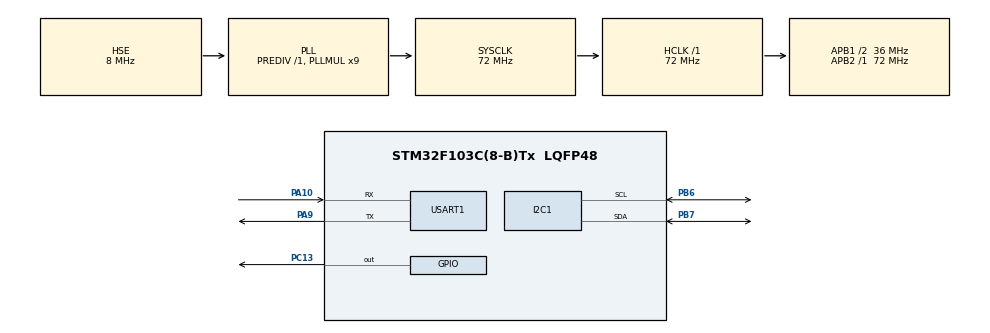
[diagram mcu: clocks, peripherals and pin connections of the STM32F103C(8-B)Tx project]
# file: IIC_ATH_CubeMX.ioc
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Mcu.Family=STM32F1
Mcu.Name=STM32F103C(8-B)Tx
Mcu.Package=LQFP48
NVIC.PriorityGroup=NVIC_PRIORITYGROUP_4
NVIC.USART1_IRQn=true\:0\:0\:false\:false\:true\:true\:true\:true
PA10.Mode=Asynchronous
PA10.Signal=USART1_RX
PA13.Mode=Serial_Wire
PA13.Signal=SYS_JTMS-SWDIO
PA14.Mode=Serial_Wire
PA14.Signal=SYS_JTCK-SWCLK
PA9.Mode=Asynchronous
PA9.Signal=USART1_TX
PB6.Mode=I2C
PB6.Signal=I2C1_SCL
PB7.Mode=I2C
PB7.Signal=I2C1_SDA
PC13-TAMPER-RTC.Signal=GPIO_Output
PD0-OSC_IN.Mode=HSE-External-Oscillator
PD0-OSC_IN.Signal=RCC_OSC_IN
PD1-OSC_OUT.Mode=HSE-External-Oscillator
PD1-OSC_OUT.Signal=RCC_OSC_OUT
ProjectManager.HeapSize=0x200
ProjectManager.StackSize=0x400
ProjectManager.TargetToolchain=MDK-ARM V5.32
RCC.AHBFreq_Value=72000000
RCC.APB1CLKDivider=RCC_HCLK_DIV2
RCC.APB1Freq_Value=36000000
RCC.APB1TimFreq_Value=72000000
RCC.APB2Freq_Value=72000000
RCC.APB2TimFreq_Value=72000000
RCC.HCLKFreq_Value=72000000
RCC.PLLMUL=RCC_PLL_MUL9
RCC.PLLSourceVirtual=RCC_PLLSOURCE_HSE
RCC.SYSCLKFreq_VALUE=72000000
RCC.SYSCLKSource=RCC_SYSCLKSOURCE_PLLCLK
RCC.USBFreq_Value=72000000
USART1.VirtualMode=VM_ASYNC
board=custom

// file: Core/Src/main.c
/* USER CODE BEGIN Header */
/**
  ******************************************************************************
  * @file           : main.c
  * @brief          : Main program body
  ******************************************************************************
  * @attention
  *
  * Copyright (c) 2022 STMicroelectronics.
  * All rights reserved.
  *
  * This software is licensed under terms that can be found in the LICENSE file
  * in the root directory of this software component.
  * If no LICENSE file comes with this software, it is provided AS-IS.
  *
  ******************************************************************************
  */
/* USER CODE END Header */
#include "main.h"
#include "i2c.h"
#include "usart.h"
#include "gpio.h"

/* USER CODE BEGIN Includes */

#include <AHT20.h>
#include <stdio.h>

/* USER CODE END Includes */

void SystemClock_Config(void);

/* USER CODE BEGIN 0 */

int fputc(int ch,FILE *f)

{
    HAL_UART_Transmit(&huart1,(uint8_t *)&ch,1,0xFFFF);
		//等待发送结束
		while(__HAL_UART_GET_FLAG(&huart1,UART_FLAG_TC)!=SET){
		}

    return ch;
}

/* USER CODE END 0 */

int main(void)
{

  /* MCU Configuration--------------------------------------------------------*/

  /* Reset of all peripherals, Initializes the Flash interface and the Systick. */
  HAL_Init();

  /* Configure the system clock */
  SystemClock_Config();

  /* Initialize all configured peripherals */
  MX_GPIO_Init();
  MX_I2C1_Init();
  MX_USART1_UART_Init();

  /* Infinite loop */
  /* USER CODE BEGIN WHILE */

	uint32_t CT_data[2]={0,0};	//
	volatile int  c1,t1;
	HAL_Delay(50);
/***********************************************************************************/
/**///①刚上电，产品芯片内部就绪需要时间，延时100~500ms,建议500ms
/***********************************************************************************/
	AHT20_Init();
	HAL_Delay(500);

	HAL_GPIO_WritePin(GPIOC,GPIO_PIN_13,GPIO_PIN_RESET);	// 使用 PC13 引脚上的板载小灯泡进行测试

  while (1)
  {
		HAL_GPIO_WritePin(GPIOC,GPIO_PIN_13,GPIO_PIN_RESET);	// 使用 PC13 引脚上的板载小灯泡进行测试——小灯泡亮
		AHT20_Read_CTdata_crc(CT_data);       //经过CRC校验，读取AHT20的温度和湿度数据    推荐每隔大于1S读一次
		c1 = CT_data[0]*1000/1024/1024;  //计算得到湿度值c1（放大了10倍）
		t1 = CT_data[1]*2000/1024/1024-500;//计算得到温度值t1（放大了10倍）
		printf("正在检测");
		HAL_Delay(100);
		printf(".");
		HAL_Delay(100);
		printf(".");
		HAL_Delay(100);
		printf(".");
		HAL_Delay(100);
		printf(".");
		HAL_Delay(100);
		printf(".");
		HAL_Delay(100);
		printf(".");
		HAL_Delay(100);
		printf(".");
		HAL_Delay(100);
		printf(".");
		HAL_Delay(100);
		printf(".");
		HAL_Delay(100);
		printf(".");
		printf("\r\n");
		printf("温度:%d%d.%d",t1/100,(t1/10)%10,t1%10);	// 这里需要对温度进行计算后才能得到我们需要的温度值                    /0/00
		printf("湿度:%d%d.%d",c1/100,(c1/10)%10,c1%10); // 这里同样需要对适度进行计算
		HAL_GPIO_WritePin(GPIOC,GPIO_PIN_13,GPIO_PIN_SET);	// 使用 PC13 引脚上的板载小灯泡进行测试——小灯泡灭
		printf("\r\n");
		printf("等待");
		HAL_Delay(100);
		printf(".");
		HAL_Delay(100);
		printf(".");
		HAL_Delay(100);
		printf(".");
		HAL_Delay(100);
		printf(".");
		HAL_Delay(100);
		printf(".");
		HAL_Delay(100);
		printf(".");
		HAL_Delay(100);
		printf(".");
		HAL_Delay(100);
		printf(".");
		HAL_Delay(100);
		printf(".");
		HAL_Delay(100);
		printf(".");
		printf("\r\n");
    /* USER CODE END WHILE */

  }
}

void SystemClock_Config(void)
{
  RCC_OscInitTypeDef RCC_OscInitStruct = {0};
  RCC_ClkInitTypeDef RCC_ClkInitStruct = {0};

  /** Initializes the RCC Oscillators according to the specified parameters
  * in the RCC_OscInitTypeDef structure.
  */
  RCC_OscInitStruct.OscillatorType = RCC_OSCILLATORTYPE_HSE;
  RCC_OscInitStruct.HSEState = RCC_HSE_ON;
  RCC_OscInitStruct.HSEPredivValue = RCC_HSE_PREDIV_DIV1;
  RCC_OscInitStruct.HSIState = RCC_HSI_ON;
  RCC_OscInitStruct.PLL.PLLState = RCC_PLL_ON;
  RCC_OscInitStruct.PLL.PLLSource = RCC_PLLSOURCE_HSE;
  RCC_OscInitStruct.PLL.PLLMUL = RCC_PLL_MUL9;
  if (HAL_RCC_OscConfig(&RCC_OscInitStruct) != HAL_OK)
  {
    Error_Handler();
  }

  /** Initializes the CPU, AHB and APB buses clocks
  */
  RCC_ClkInitStruct.ClockType = RCC_CLOCKTYPE_HCLK|RCC_CLOCKTYPE_SYSCLK
                              |RCC_CLOCKTYPE_PCLK1|RCC_CLOCKTYPE_PCLK2;
  RCC_ClkInitStruct.SYSCLKSource = RCC_SYSCLKSOURCE_PLLCLK;
  RCC_ClkInitStruct.AHBCLKDivider = RCC_SYSCLK_DIV1;
  RCC_ClkInitStruct.APB1CLKDivider = RCC_HCLK_DIV2;
  RCC_ClkInitStruct.APB2CLKDivider = RCC_HCLK_DIV1;

  if (HAL_RCC_ClockConfig(&RCC_ClkInitStruct, FLASH_LATENCY_2) != HAL_OK)
  {
    Error_Handler();
  }
}

void Error_Handler(void)
{
  __disable_irq();
  while (1)
  {
  }
}
